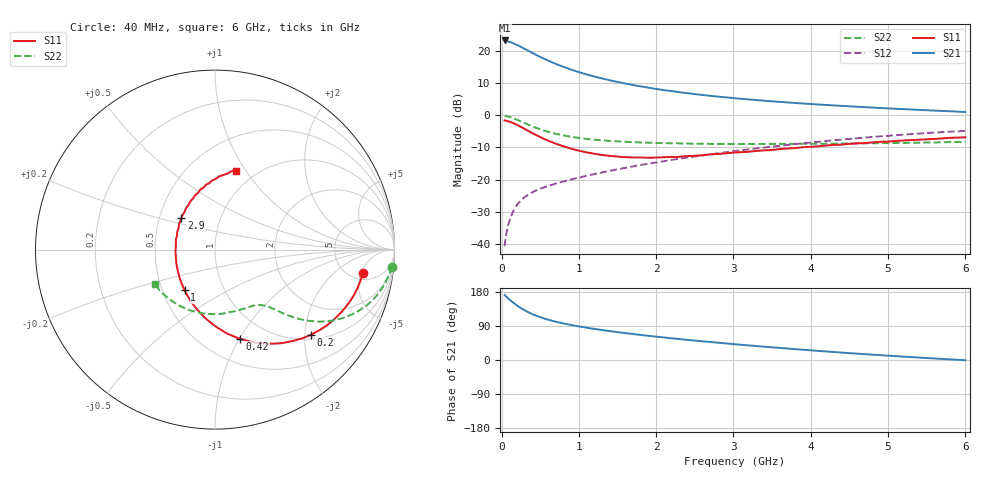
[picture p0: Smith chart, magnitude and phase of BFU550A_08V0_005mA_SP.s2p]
! Filename:  P:\Prog\Test\Noise\ATS_data\Testdata_Net\03 Spar\BFU550A_APG2013_35_C05_08p0V_005mA_SP_CM01_D.s2p
! Date/Time: Tue 16/Apr/2013 15:10:19
! BFU550A_APG2013_35_C05_08p0V_1to35mA_SP_CM01_Bias4_R.s2p
! MDIF S-parameter v. bias file
! BFU550A_APG2013_35_C05_08p0V_1to35mA_SP_CM01
! Date/time Mon Apr 15 16:50:27 2013
! VAR V_out= 8.0000
! VAR I_out= 4.9950
! VAR V_in= 0.8112
! VAR I_in= 0.0508
! Device data file deembeded for feedlines and parallel
! Original file: \03 Spar\BFU550A_APG2013_35_C05_08p0V_005mA_SP_CM01_R.s2p
! Feed-files: PR017V01_150413_Feed1.s2p, PR017V01_150413_Feed2.s2p
! Parallel-file: PR017V01_150413_Par.s2p
# MHz S MA R 50
!  Freq-MHz  S11-mag  S11-arg  S21-mag  S21-arg  S12-mag  S12-arg  S22-mag  S22-arg
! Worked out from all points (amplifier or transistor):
!   98 points, 40 MHz to 6 GHz, reference 50 ohm
!   highest |S21| = 23.4 dB at 40 MHz (marker M1)
!   |S21| within 3 dB of that: start of sweep to 329.5 MHz
!   unconditionally stable (mu >= 1): 1.67 GHz to 2.565 GHz
!   at 300 MHz: K = 0.40, MSG = 23.1 dB, |S12| = -25.5 dB
!   at 1.6 GHz: K = 1.00, MSG = 13.2 dB, |S12| = -16.4 dB
!   at 6 GHz: K = 0.88, MSG = 3.0 dB, |S12| = -4.8 dB
!   S11 on the Smith chart (normalised r, x): 40 MHz: 6.34, -5.50; 200 MHz: 1.10, -2.14; 420 MHz: 0.74, -1.00; 1 GHz: 0.65, -0.32; 2.9 GHz: 0.65, +0.24; 6 GHz: 0.82, +0.91
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40  0.8358 -9.0  14.82 171.8  0.009111 85.3  0.9882 -5.5
80  0.8152 -17.9  14.4 163.8  0.018 80.3  0.9675 -11.0
120  0.7856 -26.4  13.92 156.6  0.02611 76.1  0.9366 -15.9
160  0.7519 -34.3  13.24 150.1  0.03352 72.3  0.8998 -20.3
200  0.7138 -41.7  12.55 144.1  0.04002 69.2  0.8576 -24.2
240  0.673 -48.8  11.95 138.4  0.04573 66.7  0.8173 -27.5
300  0.6159 -58.3  10.94 131.1  0.05314 63.7  0.7585 -31.5
360  0.563 -66.8  10.02 124.8  0.05952 61.5  0.7062 -34.6
420  0.5149 -74.5  9.181 119.3  0.06507 60.1  0.6599 -37.0
480  0.4744 -81.4  8.43 114.6  0.0701 59.1  0.6203 -38.9
550  0.4307 -89.0  7.692 109.6  0.07531 58.4  0.5796 -40.6
650  0.3836 -98.5  6.784 103.8  0.08273 58.1  0.537 -42.4
800  0.3305 -111.4  5.746 96.6  0.09316 58.4  0.4889 -44.3
1000  0.282 -126.9  4.759 88.7  0.1071 59.2  0.446 -46.4
1050  0.2734 -130.6  4.559 86.9  0.1106 59.5  0.4379 -46.8
1500  0.2284 -160.8  3.335 73.6  0.1442 60.9  0.3934 -51.6
2050  0.2209 170.0  2.54 60.5  0.1889 61.0  0.371 -59.3
2900  0.2565 137.1  1.917 43.8  0.2664 58.1  0.3591 -74.8
3100  0.2667 130.9  1.822 40.2  0.2863 57.0  0.3584 -78.7
4100  0.3301 106.7  1.483 24.0  0.3885 49.3  0.3619 -101.4
5200  0.4076 86.9  1.255 8.9  0.5025 38.1  0.3726 -128.5
6000  0.4559 75.0  1.134 -0.5  0.5739 28.9  0.3856 -149.9
